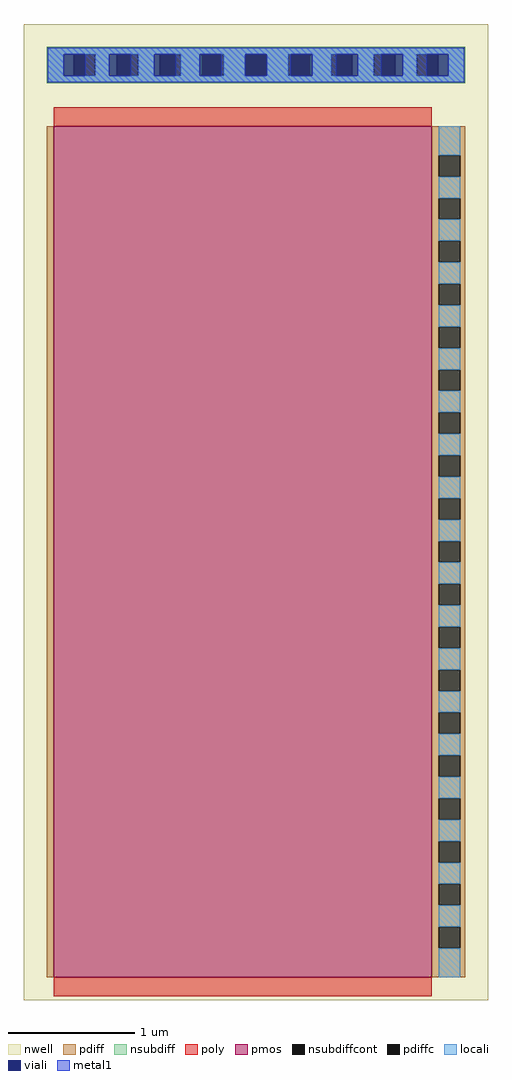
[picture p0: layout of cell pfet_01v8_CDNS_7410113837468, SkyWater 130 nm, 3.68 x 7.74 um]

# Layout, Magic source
magic
tech sky130A
magscale 1 2
<< nwell >>
rect -47 -36 689 1512
<< pmos >>
rect 0 0 600 1350
<< pdiff >>
rect -11 0 0 1350
rect 600 1304 653 1350
rect 600 1270 611 1304
rect 645 1270 653 1304
rect 600 1236 653 1270
rect 600 1202 611 1236
rect 645 1202 653 1236
rect 600 1168 653 1202
rect 600 1134 611 1168
rect 645 1134 653 1168
rect 600 1100 653 1134
rect 600 1066 611 1100
rect 645 1066 653 1100
rect 600 1032 653 1066
rect 600 998 611 1032
rect 645 998 653 1032
rect 600 964 653 998
rect 600 930 611 964
rect 645 930 653 964
rect 600 896 653 930
rect 600 862 611 896
rect 645 862 653 896
rect 600 828 653 862
rect 600 794 611 828
rect 645 794 653 828
rect 600 760 653 794
rect 600 726 611 760
rect 645 726 653 760
rect 600 692 653 726
rect 600 658 611 692
rect 645 658 653 692
rect 600 624 653 658
rect 600 590 611 624
rect 645 590 653 624
rect 600 556 653 590
rect 600 522 611 556
rect 645 522 653 556
rect 600 488 653 522
rect 600 454 611 488
rect 645 454 653 488
rect 600 420 653 454
rect 600 386 611 420
rect 645 386 653 420
rect 600 352 653 386
rect 600 318 611 352
rect 645 318 653 352
rect 600 284 653 318
rect 600 250 611 284
rect 645 250 653 284
rect 600 216 653 250
rect 600 182 611 216
rect 645 182 653 216
rect 600 148 653 182
rect 600 114 611 148
rect 645 114 653 148
rect 600 80 653 114
rect 600 46 611 80
rect 645 46 653 80
rect 600 0 653 46
<< pdiffc >>
rect 611 1270 645 1304
rect 611 1202 645 1236
rect 611 1134 645 1168
rect 611 1066 645 1100
rect 611 998 645 1032
rect 611 930 645 964
rect 611 862 645 896
rect 611 794 645 828
rect 611 726 645 760
rect 611 658 645 692
rect 611 590 645 624
rect 611 522 645 556
rect 611 454 645 488
rect 611 386 645 420
rect 611 318 645 352
rect 611 250 645 284
rect 611 182 645 216
rect 611 114 645 148
rect 611 46 645 80
<< nsubdiff >>
rect -11 1464 653 1476
rect -11 1430 32 1464
rect 66 1430 100 1464
rect 134 1430 168 1464
rect 202 1430 236 1464
rect 270 1430 304 1464
rect 338 1430 372 1464
rect 406 1430 440 1464
rect 474 1430 508 1464
rect 542 1430 576 1464
rect 610 1430 653 1464
rect -11 1418 653 1430
<< nsubdiffcont >>
rect 32 1430 66 1464
rect 100 1430 134 1464
rect 168 1430 202 1464
rect 236 1430 270 1464
rect 304 1430 338 1464
rect 372 1430 406 1464
rect 440 1430 474 1464
rect 508 1430 542 1464
rect 576 1430 610 1464
<< poly >>
rect 0 1350 600 1380
rect 0 -30 600 0
<< locali >>
rect -9 1464 651 1474
rect -9 1430 16 1464
rect 66 1430 88 1464
rect 134 1430 160 1464
rect 202 1430 232 1464
rect 270 1430 304 1464
rect 338 1430 372 1464
rect 410 1430 440 1464
rect 482 1430 508 1464
rect 554 1430 576 1464
rect 626 1430 651 1464
rect -9 1420 651 1430
rect 611 1304 645 1350
rect 611 1236 645 1270
rect 611 1168 645 1202
rect 611 1100 645 1134
rect 611 1032 645 1066
rect 611 964 645 998
rect 611 896 645 930
rect 611 828 645 862
rect 611 760 645 794
rect 611 692 645 726
rect 611 624 645 658
rect 611 556 645 590
rect 611 488 645 522
rect 611 420 645 454
rect 611 352 645 386
rect 611 284 645 318
rect 611 216 645 250
rect 611 148 645 182
rect 611 80 645 114
rect 611 0 645 46
<< viali >>
rect 16 1430 32 1464
rect 32 1430 50 1464
rect 88 1430 100 1464
rect 100 1430 122 1464
rect 160 1430 168 1464
rect 168 1430 194 1464
rect 232 1430 236 1464
rect 236 1430 266 1464
rect 304 1430 338 1464
rect 376 1430 406 1464
rect 406 1430 410 1464
rect 448 1430 474 1464
rect 474 1430 482 1464
rect 520 1430 542 1464
rect 542 1430 554 1464
rect 592 1430 610 1464
rect 610 1430 626 1464
<< metal1 >>
rect -9 1464 651 1474
rect -9 1430 16 1464
rect 50 1430 88 1464
rect 122 1430 160 1464
rect 194 1430 232 1464
rect 266 1430 304 1464
rect 338 1430 376 1464
rect 410 1430 448 1464
rect 482 1430 520 1464
rect 554 1430 592 1464
rect 626 1430 651 1464
rect -9 1420 651 1430
<< end >>
